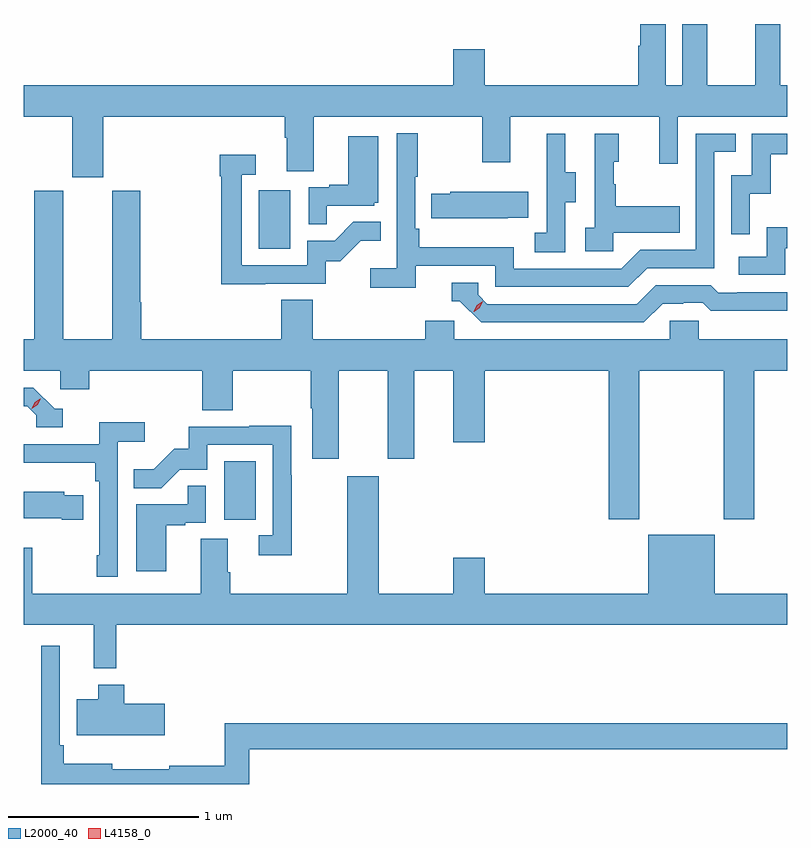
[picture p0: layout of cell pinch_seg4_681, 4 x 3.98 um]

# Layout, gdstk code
import gdstk
lib = gdstk.Library(unit=1e-6, precision=1e-09)
def R(c, l, rs):  # rectangles x0, y0, x1, y1
    for r in rs: c.add(gdstk.rectangle(r[:2], r[2:], *l))
def P(c, l, *ps):  # polygons
    for p in ps: c.add(gdstk.Polygon(p, *l))
L2000_40 = (2000, 40)
L4158_0 = (4158, 0)

pinch_seg4_681 = lib.new_cell('pinch_seg4_681')
R(pinch_seg4_681, L2000_40, [(1110.86,758.742,1111.024,759.049), (1111.04,760.164,1111.204,760.471)])
P(pinch_seg4_681, L2000_40, [(1110.226,760.856),(1111.175,760.856),(1111.175,760.744),(1111.187,760.744),(1111.187,760.57),(1111.327,760.57),(1111.327,760.856),(1112.212,760.856),(1112.212,760.617),(1112.359,760.617),(1112.359,760.856),(1113.14,760.856),(1113.14,760.608),(1113.237,760.608),(1113.237,760.856),(1113.809,760.856),(1113.809,761.02),(1113.772,761.02),(1113.772,761.341),(1113.642,761.341),(1113.642,761.228),(1113.641,761.228),(1113.641,761.02),(1113.391,761.02),(1113.391,761.228),(1113.39,761.228),(1113.39,761.341),(1113.26,761.341),(1113.26,761.02),(1113.172,761.02),(1113.172,761.341),(1113.038,761.341),(1113.038,761.228),(1113.029,761.228),(1113.029,761.02),(1112.224,761.02),(1112.224,761.209),(1112.06,761.209),(1112.06,761.02),(1109.809,761.02),(1109.809,760.856),(1110.062,760.856),(1110.062,760.539),(1110.226,760.539)],
  [(1111.862,760.074),(1112.28,760.074),(1112.28,759.963),(1112.977,759.963),(1113.076,760.062),(1113.426,760.062),(1113.426,760.671),(1113.539,760.671),(1113.539,760.767),(1113.33,760.767),(1113.33,760.158),(1113.039,760.158),(1112.94,760.059),(1112.376,760.059),(1112.376,760.171),(1111.88,760.171),(1111.88,760.267),(1111.86,760.267),(1111.86,760.54),(1111.873,760.54),(1111.873,760.768),(1111.764,760.768),(1111.764,760.06),(1111.623,760.06),(1111.623,759.958),(1111.862,759.958)],
  [(1113.612,760.451),(1113.722,760.451),(1113.722,760.659),(1113.809,760.659),(1113.809,760.767),(1113.624,760.767),(1113.624,760.548),(1113.516,760.548),(1113.516,760.239),(1113.612,760.239)],
  [(1112.646,760.408),(1112.701,760.408),(1112.701,760.563),(1112.647,760.563),(1112.647,760.765),(1112.549,760.765),(1112.549,760.551),(1112.55,760.551),(1112.55,760.247),(1112.487,760.247),(1112.487,760.144),(1112.646,760.144)],
  [(1112.898,760.247),(1113.245,760.247),(1113.245,760.387),(1112.911,760.387),(1112.911,760.502),(1112.901,760.502),(1112.901,760.62),(1112.926,760.62),(1112.926,760.765),(1112.802,760.765),(1112.802,760.274),(1112.751,760.274),(1112.751,760.149),(1112.898,760.149)],
  [(1111.397,760.389),(1111.644,760.389),(1111.644,760.404),(1111.666,760.404),(1111.666,760.753),(1111.508,760.753),(1111.508,760.498),(1111.409,760.498),(1111.409,760.485),(1111.302,760.485),(1111.302,760.291),(1111.397,760.291)],
  [(1111.073,759.981),(1111.392,759.981),(1111.392,760.098),(1111.468,760.098),(1111.575,760.205),(1111.679,760.205),(1111.679,760.304),(1111.535,760.304),(1111.437,760.206),(1111.293,760.206),(1111.293,760.077),(1110.951,760.077),(1110.951,760.551),(1111.024,760.551),(1111.024,760.657),(1110.835,760.657),(1110.835,760.544),(1110.843,760.544),(1110.843,759.976),(1111.073,759.976)],
  [(1113.033,759.524),(1113.478,759.524),(1113.478,758.745),(1113.638,758.745),(1113.638,759.524),(1113.809,759.524),(1113.809,759.688),(1113.345,759.688),(1113.345,759.786),(1113.195,759.786),(1113.195,759.688),(1112.064,759.688),(1112.064,759.786),(1111.913,759.786),(1111.913,759.688),(1111.322,759.688),(1111.322,759.896),(1111.157,759.896),(1111.157,759.688),(1110.425,759.688),(1110.425,759.884),(1110.42,759.884),(1110.42,760.467),(1110.272,760.467),(1110.272,759.688),(1110.016,759.688),(1110.016,760.467),(1109.864,760.467),(1109.864,759.688),(1109.809,759.688),(1109.809,759.524),(1110,759.524),(1110,759.426),(1110.152,759.426),(1110.152,759.524),(1110.743,759.524),(1110.743,759.316),(1110.903,759.316),(1110.903,759.524),(1111.312,759.524),(1111.312,759.328),(1111.319,759.328),(1111.319,759.063),(1111.459,759.063),(1111.459,759.524),(1111.715,759.524),(1111.715,759.063),(1111.855,759.063),(1111.855,759.524),(1112.06,759.524),(1112.06,759.15),(1112.224,759.15),(1112.224,759.524),(1112.873,759.524),(1112.873,758.745),(1113.033,758.745)],
  [(1112.345,760.325),(1112.453,760.325),(1112.453,760.462),(1112.043,760.462),(1112.043,760.452),(1111.945,760.452),(1111.945,760.322),(1112.345,760.322)],
  [(1113.798,760.167),(1113.809,760.167),(1113.809,760.276),(1113.702,760.276),(1113.702,760.122),(1113.555,760.122),(1113.555,760.026),(1113.798,760.026)],
  [(1113.157,759.876),(1113.264,759.876),(1113.264,759.879),(1113.367,759.879),(1113.409,759.837),(1113.642,759.837),(1113.642,759.839),(1113.809,759.839),(1113.809,759.936),(1113.547,759.936),(1113.547,759.933),(1113.448,759.933),(1113.409,759.972),(1113.12,759.972),(1113.021,759.873),(1112.238,759.873),(1112.19,759.921),(1112.19,759.984),(1112.051,759.984),(1112.051,759.888),(1112.094,759.888),(1112.205,759.777),(1113.058,759.777)],
  [(1110.013,759.324),(1109.97,759.324),(1109.859,759.435),(1109.809,759.435),(1109.809,759.339),(1109.826,759.339),(1109.874,759.291),(1109.874,759.228),(1110.013,759.228)],
  [(1110.3,759.152),(1110.442,759.152),(1110.442,759.254),(1110.203,759.254),(1110.203,759.138),(1109.809,759.138),(1109.809,759.041),(1110.184,759.041),(1110.184,758.945),(1110.204,758.945),(1110.204,758.557),(1110.192,758.557),(1110.192,758.445),(1110.3,758.445)],
  [(1111.214,758.975),(1111.209,758.975),(1111.209,759.236),(1110.991,759.236),(1110.991,759.231),(1110.673,759.231),(1110.673,759.114),(1110.596,759.114),(1110.489,759.007),(1110.385,759.007),(1110.385,758.908),(1110.529,758.908),(1110.627,759.006),(1110.771,759.006),(1110.771,759.135),(1111.113,759.135),(1111.113,758.661),(1111.041,758.661),(1111.041,758.556),(1111.214,758.556)],
  [(1110.293,758.192),(1113.809,758.192),(1113.809,758.356),(1113.43,758.356),(1113.43,758.665),(1113.08,758.665),(1113.08,758.356),(1112.224,758.356),(1112.224,758.545),(1112.06,758.545),(1112.06,758.356),(1111.669,758.356),(1111.669,758.971),(1111.505,758.971),(1111.505,758.356),(1110.89,758.356),(1110.89,758.468),(1110.877,758.468),(1110.877,758.642),(1110.737,758.642),(1110.737,758.356),(1109.853,758.356),(1109.853,758.596),(1109.809,758.596),(1109.809,758.192),(1110.176,758.192),(1110.176,757.964),(1110.293,757.964)],
  [(1110.556,758.715),(1110.656,758.715),(1110.656,758.727),(1110.762,758.727),(1110.762,758.921),(1110.667,758.921),(1110.667,758.823),(1110.398,758.823),(1110.398,758.472),(1110.556,758.472)],
  [(1110.119,758.872),(1110.021,758.872),(1110.021,758.89),(1109.809,758.89),(1109.809,758.75),(1110.008,758.75),(1110.008,758.743),(1110.119,758.743)],
  [(1110.989,757.54),(1113.809,757.54),(1113.809,757.676),(1110.861,757.676),(1110.861,757.454),(1110.572,757.454),(1110.572,757.435),(1110.271,757.435),(1110.271,757.465),(1110.017,757.465),(1110.017,757.561),(1109.997,757.561),(1109.997,758.083),(1109.9,758.083),(1109.9,757.358),(1110.989,757.358)],
  [(1110.547,757.779),(1110.335,757.779),(1110.335,757.879),(1110.2,757.879),(1110.2,757.801),(1110.086,757.801),(1110.086,757.613),(1110.547,757.613)])
P(pinch_seg4_681, L4158_0, [(1112.167,759.834),(1112.167,759.835),(1112.183,759.867),(1112.213,759.887),(1112.214,759.887),(1112.214,759.887),(1112.198,759.854),(1112.168,759.834)],
  [(1109.851,759.325),(1109.851,759.325),(1109.866,759.358),(1109.896,759.378),(1109.897,759.378),(1109.897,759.377),(1109.881,759.345),(1109.851,759.325)])

lib.write_gds('pinch_seg4_681.gds')
